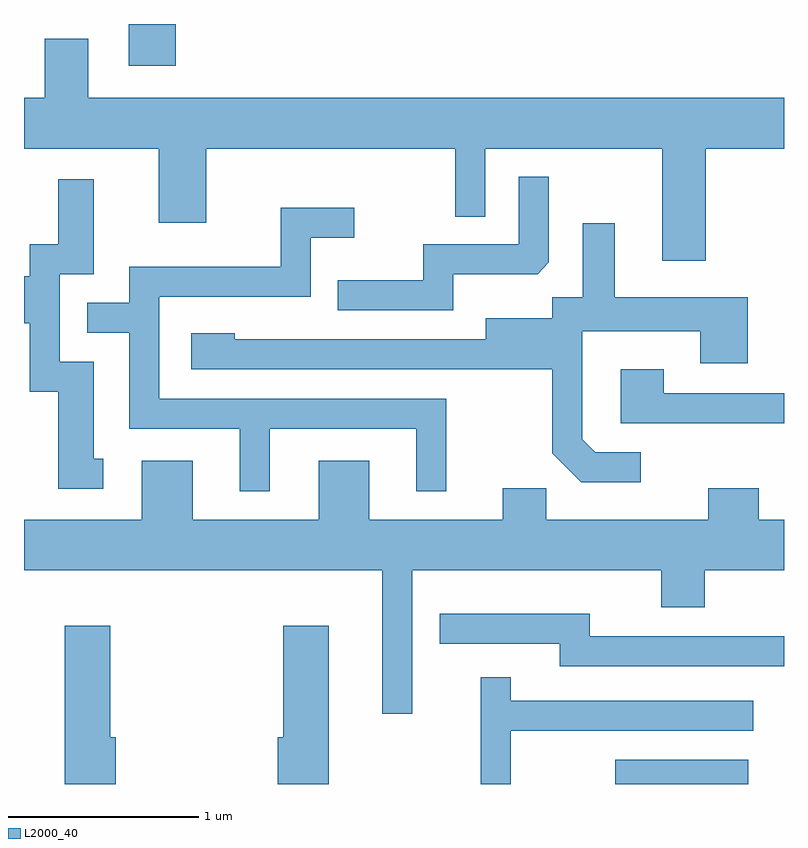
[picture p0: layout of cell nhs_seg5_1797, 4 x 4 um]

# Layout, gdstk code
import gdstk
lib = gdstk.Library(unit=1e-6, precision=1e-09)
def R(c, l, rs):  # rectangles x0, y0, x1, y1
    for r in rs: c.add(gdstk.rectangle(r[:2], r[2:], *l))
def P(c, l, *ps):  # polygons
    for p in ps: c.add(gdstk.Polygon(p, *l))
L2000_40 = (2000, 40)

nhs_seg5_1797 = lib.new_cell('nhs_seg5_1797')
R(nhs_seg5_1797, L2000_40, [(240.723,1500.072,241.424,1500.199), (238.161,1503.851,238.409,1504.072)])
P(nhs_seg5_1797, L2000_40, [(241.199,1503.416),(241.611,1503.416),(241.611,1503.684),(237.949,1503.684),(237.949,1503.994),(237.721,1503.994),(237.721,1503.684),(237.611,1503.684),(237.611,1503.416),(238.321,1503.416),(238.321,1503.026),(238.569,1503.026),(238.569,1503.416),(239.881,1503.416),(239.881,1503.058),(240.039,1503.058),(240.039,1503.416),(240.971,1503.416),(240.971,1502.826),(241.199,1502.826)],
  [(239.869,1502.756),(240.314,1502.756),(240.374,1502.817),(240.374,1503.268),(240.216,1503.268),(240.216,1502.914),(239.711,1502.914),(239.711,1502.724),(239.263,1502.724),(239.263,1502.566),(239.869,1502.566)],
  [(238.028,1501.784),(237.979,1501.784),(237.979,1502.294),(237.799,1502.294),(237.799,1502.756),(237.979,1502.756),(237.979,1503.254),(237.791,1503.254),(237.791,1502.914),(237.641,1502.914),(237.641,1502.744),(237.611,1502.744),(237.611,1502.496),(237.641,1502.496),(237.641,1502.136),(237.791,1502.136),(237.791,1501.626),(238.028,1501.626)],
  [(238.904,1501.941),(239.676,1501.941),(239.676,1501.613),(239.834,1501.613),(239.834,1502.099),(238.324,1502.099),(238.324,1502.636),(239.119,1502.636),(239.119,1502.946),(239.348,1502.946),(239.348,1503.104),(238.961,1503.104),(238.961,1502.794),(238.166,1502.794),(238.166,1502.604),(237.943,1502.604),(237.943,1502.446),(238.166,1502.446),(238.166,1501.941),(238.746,1501.941),(238.746,1501.613),(238.904,1501.613)],
  [(240.858,1501.819),(240.617,1501.819),(240.549,1501.887),(240.549,1502.456),(241.171,1502.456),(241.171,1502.286),(241.419,1502.286),(241.419,1502.634),(240.719,1502.634),(240.719,1503.023),(240.551,1503.023),(240.551,1502.634),(240.391,1502.634),(240.391,1502.524),(240.041,1502.524),(240.041,1502.414),(238.719,1502.414),(238.719,1502.444),(238.491,1502.444),(238.491,1502.256),(240.391,1502.256),(240.391,1501.814),(240.544,1501.661),(240.858,1501.661)],
  [(241.611,1502.129),(240.979,1502.129),(240.979,1502.254),(240.751,1502.254),(240.751,1501.971),(241.611,1501.971)],
  [(239.654,1501.196),(240.966,1501.196),(240.966,1501.001),(241.194,1501.001),(241.194,1501.196),(241.611,1501.196),(241.611,1501.464),(241.479,1501.464),(241.479,1501.629),(241.211,1501.629),(241.211,1501.464),(240.359,1501.464),(240.359,1501.629),(240.131,1501.629),(240.131,1501.464),(239.429,1501.464),(239.429,1501.774),(239.161,1501.774),(239.161,1501.464),(238.499,1501.464),(238.499,1501.774),(238.231,1501.774),(238.231,1501.464),(237.611,1501.464),(237.611,1501.196),(239.496,1501.196),(239.496,1500.443),(239.654,1500.443)],
  [(241.611,1500.849),(240.589,1500.849),(240.589,1500.969),(239.798,1500.969),(239.798,1500.811),(240.431,1500.811),(240.431,1500.691),(241.611,1500.691)],
  [(239.214,1500.904),(238.976,1500.904),(238.976,1500.319),(238.946,1500.319),(238.946,1500.072),(239.214,1500.072)],
  [(238.094,1500.319),(238.064,1500.319),(238.064,1500.904),(237.826,1500.904),(237.826,1500.072),(238.094,1500.072)],
  [(240.174,1500.351),(241.448,1500.351),(241.448,1500.509),(240.174,1500.509),(240.174,1500.633),(240.016,1500.633),(240.016,1500.072),(240.174,1500.072)])

lib.write_gds('nhs_seg5_1797.gds')
